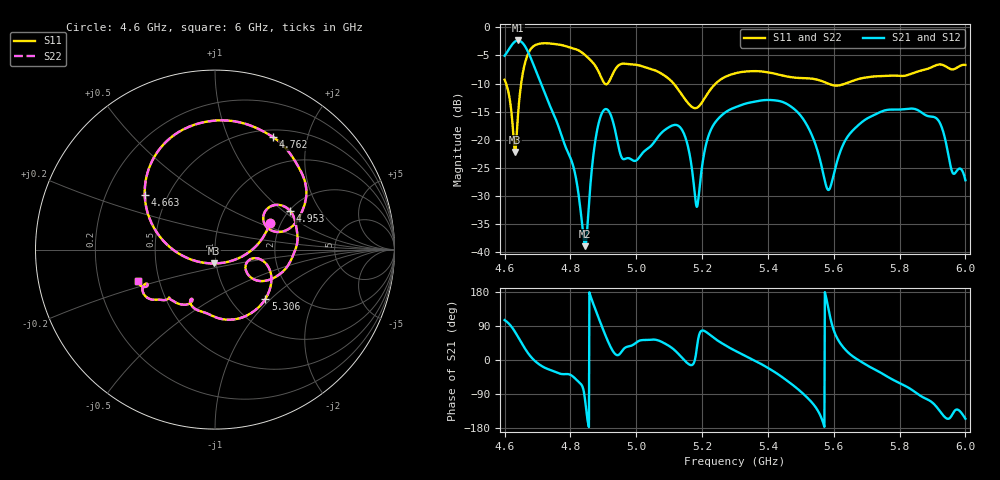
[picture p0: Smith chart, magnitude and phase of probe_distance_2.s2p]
! TOUCHSTONE file generated by CST MICROWAVE STUDIO
! Date and time: Sat Nov 30 13:10:56 2024
! Project name: test_tuning.cst
! Parameters = {airCoaxOuterDiameter=3; chamferAngle=45; chamferWidth=24; connectorLength=10; drillingHoleDiameter=4.1; feedLength=60; flareDiameter=130; flareLength=70; gratingDistance=0; gratingGap=1.90274; outletLength=30; polarizerLength=134; probe1Diameter=1.3; probe1Distance=8.5; probe1Length=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
! Header version: 2024
! Port assignment regex: !\s*Touchstone port\s*([0-9]+)\s*=\s*(CST MWS port|CST DES external port|CST DES block port)\s*(.+)\s* \(\"(.*)\"\)(\s*mode\s*([0-9]+))?.*
! Touchstone port assignment:
! Touchstone port 1 = CST MWS port 1 ("Input1")
! Touchstone port 2 = CST MWS port 2 ("Input2")
# GHz S MA R 50
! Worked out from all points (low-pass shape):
!   1001 points, 4.6 GHz to 6 GHz, reference 50 ohm
!   highest |S21| = -2.33 dB at 4.641 GHz (marker M1); lowest = -39.0 dB at 4.845 GHz (marker M2)
!   |S21| within 3 dB of the highest: start of sweep to 4.679 GHz
!   lowest |S11| = -22.2 dB at 4.632 GHz (marker M3), VSWR 1.17, Z = 49 - j7.62 ohm
!   |S11| at or under -10 dB: 4.604 GHz to 4.65 GHz (45.87 MHz wide, 0.991 % of centre); 5.114 GHz to 5.242 GHz (128 MHz wide, 2.47 % of centre); 5.582 GHz to 5.636 GHz (53.46 MHz wide, 0.953 % of centre)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
!   |S22| runs from -22.2 to -2.8 dB; largest |S21 - S12| = 1.1e-06
!   S11 on the Smith chart (normalised r, x): 4.6 GHz: 1.76, +0.60; 4.663 GHz: 0.37, +0.30; 4.762 GHz: 0.59, +1.48; 4.953 GHz: 2.02, +1.12; 5.306 GHz: 1.43, -0.93; 6 GHz: 0.38, -0.17
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4.6  0.3416 26.0  0.5594 105.3  0.5594 105.3  0.3416 26.0
4.6322  0.07744 -93.1  0.7498 73.5  0.7498 73.5  0.07743 -93.1
4.6406  0.1644 -164.0  0.7651 61.3  0.7651 61.3  0.1644 -164.0
4.663  0.4946 142.3  0.6717 28.7  0.6717 28.7  0.4946 142.3
4.6994  0.7073 98.2  0.3816 -7.8  0.3816 -7.8  0.7073 98.2
4.7624  0.7051 62.6  0.1344 -34.5  0.1344 -34.5  0.7051 62.6
4.8338  0.6009 32.1  0.01957 -65.7  0.01957 -65.7  0.6009 32.1
4.845  0.5654 27.5  0.01123 -110.0  0.01123 -110.0  0.5654 27.5
4.894  0.3561 16.1  0.1677 92.1  0.1677 92.1  0.3561 16.1
4.9528  0.4708 27.3  0.07264 18.9  0.07264 18.9  0.4708 27.3
5.0676  0.4006 -17.1  0.1071 51.5  0.1071 51.5  0.4006 -17.1
5.139  0.2499 -37.8  0.1222 5.9  0.1222 5.9  0.2499 -37.8
5.1838  0.1919 -21.1  0.02517 29.9  0.02517 29.9  0.1919 -21.1
5.2244  0.2769 -13.3  0.118 65.9  0.118 65.9  0.2769 -13.3
5.3  0.3894 -42.1  0.1936 24.7  0.1936 24.7  0.3894 -42.1
5.3056  0.393 -44.4  0.1965 22.2  0.1965 22.2  0.393 -44.4
5.5338  0.3493 -108.1  0.1092 -112.3  0.1092 -112.3  0.3493 -108.1
5.5842  0.3145 -116.0  0.03556 134.0  0.03556 134.0  0.3145 -116.0
5.6472  0.3254 -114.6  0.1113 17.1  0.1113 17.1  0.3254 -114.6
5.7676  0.3708 -130.5  0.1848 -46.3  0.1848 -46.3  0.3708 -130.5
5.9118  0.4614 -144.2  0.155 -123.1  0.155 -123.1  0.4614 -144.2
6  0.463 -157.7  0.04345 -154.9  0.04345 -154.9  0.463 -157.7
